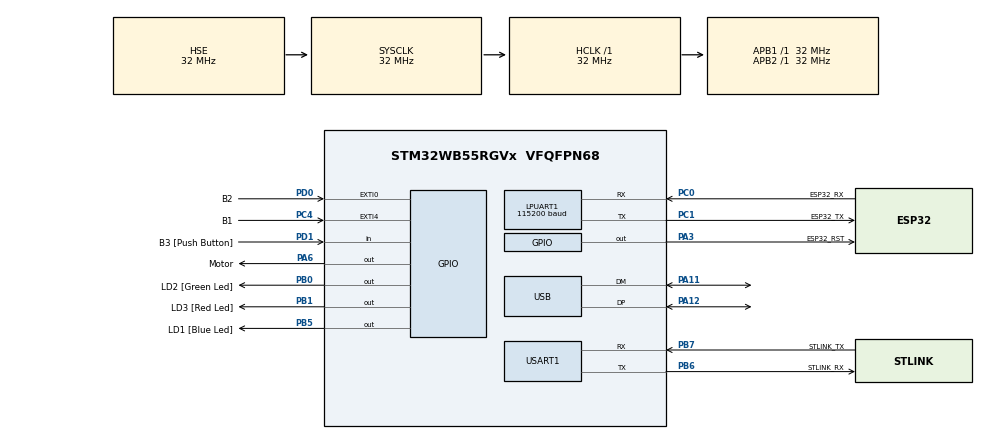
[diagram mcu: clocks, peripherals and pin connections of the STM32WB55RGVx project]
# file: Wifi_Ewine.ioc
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Dma.LPUART1_RX.0.Direction=DMA_PERIPH_TO_MEMORY
Dma.LPUART1_RX.0.EventEnable=DISABLE
Dma.LPUART1_RX.0.Instance=DMA1_Channel1
Dma.LPUART1_RX.0.MemDataAlignment=DMA_MDATAALIGN_BYTE
Dma.LPUART1_RX.0.MemInc=DMA_MINC_ENABLE
Dma.LPUART1_RX.0.Mode=DMA_NORMAL
Dma.LPUART1_RX.0.PeriphDataAlignment=DMA_PDATAALIGN_BYTE
Dma.LPUART1_RX.0.PeriphInc=DMA_PINC_DISABLE
Dma.LPUART1_RX.0.Polarity=HAL_DMAMUX_REQ_GEN_RISING
Dma.LPUART1_RX.0.Priority=DMA_PRIORITY_LOW
Dma.LPUART1_RX.0.RequestNumber=1
Dma.LPUART1_RX.0.SignalID=NONE
Dma.LPUART1_RX.0.SyncEnable=DISABLE
Dma.LPUART1_RX.0.SyncPolarity=HAL_DMAMUX_SYNC_NO_EVENT
Dma.LPUART1_RX.0.SyncRequestNumber=1
Dma.LPUART1_RX.0.SyncSignalID=NONE
Dma.Request0=LPUART1_RX
LPUART1.BaudRate=115200
Mcu.Family=STM32WB
Mcu.Name=STM32WB55RGVx
Mcu.Package=VFQFPN68
NVIC.DMA1_Channel1_IRQn=true\:0\:0\:false\:false\:true\:false\:true\:true
NVIC.EXTI0_IRQn=true\:0\:0\:false\:false\:true\:true\:true\:true
NVIC.EXTI4_IRQn=true\:0\:0\:false\:false\:true\:true\:true\:true
NVIC.LPUART1_IRQn=true\:0\:0\:false\:false\:true\:true\:true\:true
NVIC.PriorityGroup=NVIC_PRIORITYGROUP_4
OSC_IN.Mode=HSE-External-Oscillator
OSC_IN.Signal=RCC_OSC_IN
OSC_OUT.Mode=HSE-External-Oscillator
OSC_OUT.Signal=RCC_OSC_OUT
PA11.Mode=Device
PA11.Signal=USB_DM
PA12.Mode=Device
PA12.Signal=USB_DP
PA13.GPIO_Label=JTMS
PA13.Mode=Trace_Asynchronous_SW
PA13.Signal=SYS_JTMS-SWDIO
PA14.GPIO_Label=JTCK
PA14.Mode=Trace_Asynchronous_SW
PA14.Signal=SYS_JTCK-SWCLK
PA3.GPIO_Label=ESP32_RST
PA3.Signal=GPIO_Output
PA6.GPIO_Label=Motor
PA6.Signal=GPIO_Output
PB0.GPIO_Label=LD2 [Green Led]
PB0.Signal=GPIO_Output
PB1.GPIO_Label=LD3 [Red Led]
PB1.Signal=GPIO_Output
PB3.GPIO_Label=JTDO
PB3.Mode=Trace_Asynchronous_SW
PB3.Signal=SYS_JTDO-SWO
PB5.GPIO_Label=LD1 [Blue Led]
PB5.Signal=GPIO_Output
PB6.GPIO_Label=STLINK_RX
PB6.GPIO_PuPd=GPIO_PULLUP
PB6.Mode=Asynchronous
PB6.Signal=USART1_TX
PB7.GPIO_Label=STLINK_TX
PB7.GPIO_PuPd=GPIO_PULLUP
PB7.Mode=Asynchronous
PB7.Signal=USART1_RX
PC0.GPIO_Label=ESP32_RX
PC0.Mode=Asynchronous
PC0.Signal=LPUART1_RX
PC1.GPIO_Label=ESP32_TX
PC1.Mode=Asynchronous
PC1.Signal=LPUART1_TX
PC13.Mode=SYS_WakeUp1
PC13.Signal=SYS_WKUP2
PC14-OSC32_IN.Mode=LSE-External-Oscillator
PC14-OSC32_IN.Signal=RCC_OSC32_IN
PC15-OSC32_OUT.Mode=LSE-External-Oscillator
PC15-OSC32_OUT.Signal=RCC_OSC32_OUT
PC4.GPIO_Label=B1
PC4.GPIO_PuPd=GPIO_PULLUP
PC4.Signal=GPXTI4
PD0.GPIO_Label=B2
PD0.GPIO_PuPd=GPIO_PULLUP
PD0.Signal=GPXTI0
PD1.GPIO_Label=B3 [Push Button]
PD1.GPIO_PuPd=GPIO_PULLUP
PD1.Signal=GPIO_Input
ProjectManager.HeapSize=0x200
ProjectManager.StackSize=0x400
ProjectManager.TargetToolchain=STM32CubeIDE
RCC.ADCFreq_Value=48000000
RCC.AHBFreq_Value=32000000
RCC.APB1Freq_Value=32000000
RCC.APB1TimFreq_Value=32000000
RCC.APB2Freq_Value=32000000
RCC.APB2TimFreq_Value=32000000
RCC.APB3Freq_Value=16000000
RCC.CortexFreq_Value=32000000
RCC.HCLKFreq_Value=32000000
RCC.HSE_VALUE=32000000
RCC.HSI48_VALUE=48000000
RCC.HSI_VALUE=16000000
RCC.LSE_Drive_Capability=RCC_LSEDRIVE_LOW
RCC.PLLN=32
RCC.PLLSAI1N=24
RCC.SMPSCLockSelectionVirtual=RCC_SMPSCLKSOURCE_HSI
RCC.SMPSCLockSelectionVirtualVirtual=RCC_SMPSCLKSOURCE_HSI
RCC.SMPSDivider=1
RCC.SYSCLKFreq_VALUE=32000000
RCC.SYSCLKSource=RCC_SYSCLKSOURCE_HSE
RCC.USBFreq_Value=48000000
RCC.VCOOutputFreq_Value=128000000
TIM17.Period=30000
TIM17.Prescaler=32000
USART1.VirtualMode-Asynchronous=VM_ASYNC
USART1.WordLength=WORDLENGTH_7B
VP_TIM17_VS_ClockSourceINT.Mode=Enable_Timer
board=NUCLEO-WB55RG

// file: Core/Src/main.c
/* USER CODE BEGIN Header */
/**
  ******************************************************************************
  * @file           : main.c
  * @brief          : Main program body
  ******************************************************************************
  * @attention
  *
  * Copyright (c) 2023 STMicroelectronics.
  * All rights reserved.
  *
  * This software is licensed under terms that can be found in the LICENSE file
  * in the root directory of this software component.
  * If no LICENSE file comes with this software, it is provided AS-IS.
  *
  ******************************************************************************
  */
/* USER CODE END Header */
#include "main.h"
#include "dma.h"
#include "usart.h"
#include "tim.h"
#include "usb.h"
#include "gpio.h"

/* USER CODE BEGIN Includes */
#include "stdio.h"
#include "esp8266.h"
#include "parson.h"
/* USER CODE END Includes */

/* USER CODE BEGIN PD */
typedef enum _button_interface
{
	NONE,
	B1,
	B2,
}button_interface;
/* USER CODE END PD */

/* USER CODE BEGIN PV */
uint16_t button_pushed = NONE;
/* USER CODE END PV */

void SystemClock_Config(void);
void PeriphCommonClock_Config(void);
/* USER CODE BEGIN PFP */
void init_done();
static HAL_StatusTypeDef acq_internal_temp(uint16_t *temperature);
static char* formate_json_button(int value);
static char* formate_json_temp(int value);
static int check_subscription();
/* USER CODE END PFP */

/* USER CODE BEGIN 0 */
void init_done()
{
	for(int i=0; i<3; i++)
	{
		HAL_GPIO_TogglePin(LD1_GPIO_Port, LD1_Pin);
		HAL_Delay(200);
		HAL_GPIO_TogglePin(LD2_GPIO_Port, LD2_Pin);
		HAL_Delay(200);
		HAL_GPIO_TogglePin(LD3_GPIO_Port, LD3_Pin);
		HAL_Delay(200);
	}
	HAL_GPIO_WritePin(LD1_GPIO_Port, LD1_Pin, RESET);
	HAL_GPIO_WritePin(LD2_GPIO_Port, LD2_Pin, RESET);
	HAL_GPIO_WritePin(LD3_GPIO_Port, LD3_Pin, RESET);
}

static char* formate_json_button(int value)
{
	JSON_Value *val = json_value_init_object();
	if(val == NULL)
		return NULL;

	JSON_Object *obj = json_value_get_object(val);
	if(obj == NULL)
		return NULL;

	if(json_object_set_number(obj, "id", value) != JSONSuccess)
		return NULL;

	char* serialized_string = json_serialize_to_string(val);

	json_value_free(val);

	return serialized_string;
}

static char* formate_json_temp(int value)
{
	JSON_Value *val = json_value_init_object();
	if(val == NULL)
		return NULL;

	JSON_Object *obj = json_value_get_object(val);
	if(obj == NULL)
		return NULL;

	if(json_object_set_number(obj, "value", value) != JSONSuccess)
		return NULL;

	char* serialized_string = json_serialize_to_string(val);

	json_value_free(val);

	return serialized_string;
}

static int check_subscription()
{
	if (UART_ESP32_RecvEndFlag == 1) {
		char pattern[24];
		memset(pattern, 0, sizeof(pattern));
		//sprintf((char*) pattern, "+MQTTSUBRECV:0,\"isen%s/led\",", CARD_NUMBER);
		sprintf((char*) pattern, "+MQTTSUBRECV:0,\"%s/", MQTT_CLIENTID);
		uint16_t data_size = 0, off = sizeof(pattern)-1; // \0 not needed
		if (strstr((const char*) UART_ESP32_RxBUF, pattern) != NULL) {
			printf("APP: Match succeed\r\n");
			int topic_id = 0;
			// nul mais ok
			if(UART_ESP32_RxBUF[off] == 'l')
			{
				topic_id = 1;
				off+= 5;
			}
			else
			{
				topic_id = 2;
				off+= 9;
			}
			if(topic_id == 1)
			{
				uint8_t data[data_size];
				JSON_Value *val = json_parse_string(data);
				JSON_Object *obj = json_value_get_object(val);
				int motor_state = json_object_get_number (obj, "state");
				if(motor_state == 0){
					HAL_GPIO_WritePin(Motor_GPIO_Port, Motor_Pin, RESET);
					printf("Motor OFF\n");
				}
				if(motor_state == 1){
					HAL_GPIO_WritePin(Motor_GPIO_Port, Motor_Pin, SET);
					printf("Motor ON\n");
				}
				json_free_serialized_string(data);
			}
			if(topic_id == 2)
			{
				// PUB ADC temperature
				uint16_t temp = 0;
				//acq_internal_temp(&temp);
				char *data = formate_json_temp((int)temp);
				if(esp8266_Publish_Temp_BrokerMQTT((uint8_t*)data,strlen(data)) != _PUBLISH_TEMP_MQTT)
					printf("APP: TEMP esp8266_Publish_BrokerMQTT() failed\n");
				json_free_serialized_string(data);
			}
			else
				printf("topic_id unknown %d\n",topic_id);

			return 0;
		}
		else
		{
			printf("APP: Match failed\r\n");
			return -1;
		}
	}
	else
	{
		return 1;
	}
}
/* USER CODE END 0 */

int main(void)
{

  /* MCU Configuration--------------------------------------------------------*/

  /* Reset of all peripherals, Initializes the Flash interface and the Systick. */
  HAL_Init();

  /* Configure the system clock */
  SystemClock_Config();

/* Configure the peripherals common clocks */
  PeriphCommonClock_Config();

  /* Initialize all configured peripherals */
  MX_GPIO_Init();
  MX_DMA_Init();
  MX_USART1_UART_Init();
  MX_USB_PCD_Init();
  MX_LPUART1_UART_Init();
  MX_TIM17_Init();
  /* USER CODE BEGIN 2 */

 if (esp8266_SetupIP() != _SUCCEED) {
  	  printf("esp8266_SetupIP failed - RESTART and configure WIFI source\n");
  	  while(1)
  	  {
  		  HAL_GPIO_TogglePin(LD3_GPIO_Port, LD3_Pin);
  		  HAL_Delay(200);
  	  }
    }

    if(esp8266_SetupConnect_BrokerMQTT() != _SUCCEED_MQTT)
    {
  	  printf("esp8266_SetupConnect_BrokerMQTT failed - RESTART and configure MQTT\n");
  	  while(1)
  	  {
  		  HAL_GPIO_TogglePin(LD3_GPIO_Port, LD3_Pin);
  		  HAL_Delay(200);
  	  }
    }
  /* USER CODE END 2 */

  /* Infinite loop */
  while (1)
  {

    /* USER CODE BEGIN 3 */

	  init_done();
	 	  //click button to start
	 	  printf("Waiting to start...\n");
	 	  while(HAL_GPIO_ReadPin(B3_GPIO_Port, B3_Pin) != GPIO_PIN_RESET)
	 	  {
	 		  HAL_GPIO_TogglePin(LD1_GPIO_Port, LD1_Pin);
	 		  HAL_Delay(100);
	 	  }
	 	  HAL_GPIO_WritePin(LD1_GPIO_Port, LD1_Pin, RESET);

	 	  printf("App started...\n");

	 	  // app part
	 	  while(1)
	 	  {
	 		  if(get_mqtt_state() < _SUBSCRIBED_TEMP_MQTT)
	 		  {
	 			  if(esp8266_Subscribe_Temp_BrokerMQTT() != _SUBSCRIBED_TEMP_MQTT)
	 		  		printf("APP: esp8266_Subscribe_Temp_BrokerMQTT() failed\n");
	 		  }
	 		 if(get_mqtt_state() < _SUBSCRIBED_TOF_MQTT)
			  {
				  if(esp8266_Subscribe_ToF_BrokerMQTT() != _SUBSCRIBED_TOF_MQTT)
					printf("APP: esp8266_Subscribe_ToF_BrokerMQTT() failed\n");
			  }
	 		if(get_mqtt_state() < _SUBSCRIBED_MOTOR_MQTT)
			  {
				  if(esp8266_Subscribe_Motor_BrokerMQTT() != _SUBSCRIBED_MOTOR_MQTT)
					printf("APP: esp8266_Subscribe_Motor_BrokerMQTT() failed\n");
			  }

	 		  switch(button_pushed)
	 		  {
	 		  case B1:
	 		  {
	 			  char *data = formate_json_button(1);
	 			  if(esp8266_Publish_Button_BrokerMQTT((uint8_t*)data,strlen(data)) != _PUBLISH_BUTTON_MQTT)
	 				printf("APP: B1 esp8266_Publish_Button_BrokerMQTT() failed\n");
	 			  json_free_serialized_string(data);
	 		  }
	 			  break;
	 		  case B2:
	 		  {
	 			  char *data = formate_json_button(2);
	 			  if(esp8266_Publish_Button_BrokerMQTT((uint8_t*)data,strlen(data)) != _PUBLISH_BUTTON_MQTT)
	 				printf("APP: B2 esp8266_Publish_Button_BrokerMQTT() failed\n");
	 		  }
	 			  break;
	 		  }
	 		  button_pushed = NONE;

	 		  int sub_status = check_subscription();
	 		  if(sub_status == 0)
	 			  printf("APP: check_subscription() SUB MQTT RCV\n");
	 	  }

  }
  /* USER CODE END 3 */
}

void SystemClock_Config(void)
{
  RCC_OscInitTypeDef RCC_OscInitStruct = {0};
  RCC_ClkInitTypeDef RCC_ClkInitStruct = {0};

  /** Macro to configure the PLL multiplication factor
  */
  __HAL_RCC_PLL_PLLM_CONFIG(RCC_PLLM_DIV1);

  /** Macro to configure the PLL clock source
  */
  __HAL_RCC_PLL_PLLSOURCE_CONFIG(RCC_PLLSOURCE_MSI);

  /** Configure LSE Drive Capability
  */
  HAL_PWR_EnableBkUpAccess();
  __HAL_RCC_LSEDRIVE_CONFIG(RCC_LSEDRIVE_LOW);

  /** Configure the main internal regulator output voltage
  */
  __HAL_PWR_VOLTAGESCALING_CONFIG(PWR_REGULATOR_VOLTAGE_SCALE1);

  /** Initializes the RCC Oscillators according to the specified parameters
  * in the RCC_OscInitTypeDef structure.
  */
  RCC_OscInitStruct.OscillatorType = RCC_OSCILLATORTYPE_HSI|RCC_OSCILLATORTYPE_HSE
                              |RCC_OSCILLATORTYPE_LSE|RCC_OSCILLATORTYPE_MSI;
  RCC_OscInitStruct.HSEState = RCC_HSE_ON;
  RCC_OscInitStruct.LSEState = RCC_LSE_ON;
  RCC_OscInitStruct.HSIState = RCC_HSI_ON;
  RCC_OscInitStruct.MSIState = RCC_MSI_ON;
  RCC_OscInitStruct.HSICalibrationValue = RCC_HSICALIBRATION_DEFAULT;
  RCC_OscInitStruct.MSICalibrationValue = RCC_MSICALIBRATION_DEFAULT;
  RCC_OscInitStruct.MSIClockRange = RCC_MSIRANGE_6;
  RCC_OscInitStruct.PLL.PLLState = RCC_PLL_NONE;
  if (HAL_RCC_OscConfig(&RCC_OscInitStruct) != HAL_OK)
  {
    Error_Handler();
  }

  /** Configure the SYSCLKSource, HCLK, PCLK1 and PCLK2 clocks dividers
  */
  RCC_ClkInitStruct.ClockType = RCC_CLOCKTYPE_HCLK4|RCC_CLOCKTYPE_HCLK2
                              |RCC_CLOCKTYPE_HCLK|RCC_CLOCKTYPE_SYSCLK
                              |RCC_CLOCKTYPE_PCLK1|RCC_CLOCKTYPE_PCLK2;
  RCC_ClkInitStruct.SYSCLKSource = RCC_SYSCLKSOURCE_HSE;
  RCC_ClkInitStruct.AHBCLKDivider = RCC_SYSCLK_DIV1;
  RCC_ClkInitStruct.APB1CLKDivider = RCC_HCLK_DIV1;
  RCC_ClkInitStruct.APB2CLKDivider = RCC_HCLK_DIV1;
  RCC_ClkInitStruct.AHBCLK2Divider = RCC_SYSCLK_DIV1;
  RCC_ClkInitStruct.AHBCLK4Divider = RCC_SYSCLK_DIV1;

  if (HAL_RCC_ClockConfig(&RCC_ClkInitStruct, FLASH_LATENCY_1) != HAL_OK)
  {
    Error_Handler();
  }

  /** Enable MSI Auto calibration
  */
  HAL_RCCEx_EnableMSIPLLMode();
}

void PeriphCommonClock_Config(void)
{
  RCC_PeriphCLKInitTypeDef PeriphClkInitStruct = {0};

  /** Initializes the peripherals clock
  */
  PeriphClkInitStruct.PeriphClockSelection = RCC_PERIPHCLK_SMPS;
  PeriphClkInitStruct.SmpsClockSelection = RCC_SMPSCLKSOURCE_HSI;
  PeriphClkInitStruct.SmpsDivSelection = RCC_SMPSCLKDIV_RANGE0;

  if (HAL_RCCEx_PeriphCLKConfig(&PeriphClkInitStruct) != HAL_OK)
  {
    Error_Handler();
  }
}

/* USER CODE BEGIN 4 */
void HAL_UART_RxCpltCallback(UART_HandleTypeDef *huart)
{
	printf("CALLBACK LPUART\n");
}

int _write(int file, char *ptr, int len)
{
	int DataIdx;

	for (DataIdx = 0; DataIdx < len; DataIdx++)
	{
	//__io_putchar(*ptr++);
	ITM_SendChar(*ptr++);
	}
	return len;
}

void HAL_GPIO_EXTI_Callback(uint16_t GPIO_Pin)
{
	switch(GPIO_Pin)
	{
	case B1_Pin:
		button_pushed = B1;
		break;
	case B2_Pin:
		button_pushed = B2;
		break;
	}
}
/* USER CODE END 4 */

void Error_Handler(void)
{
  __disable_irq();
  while (1)
  {
  }
}
